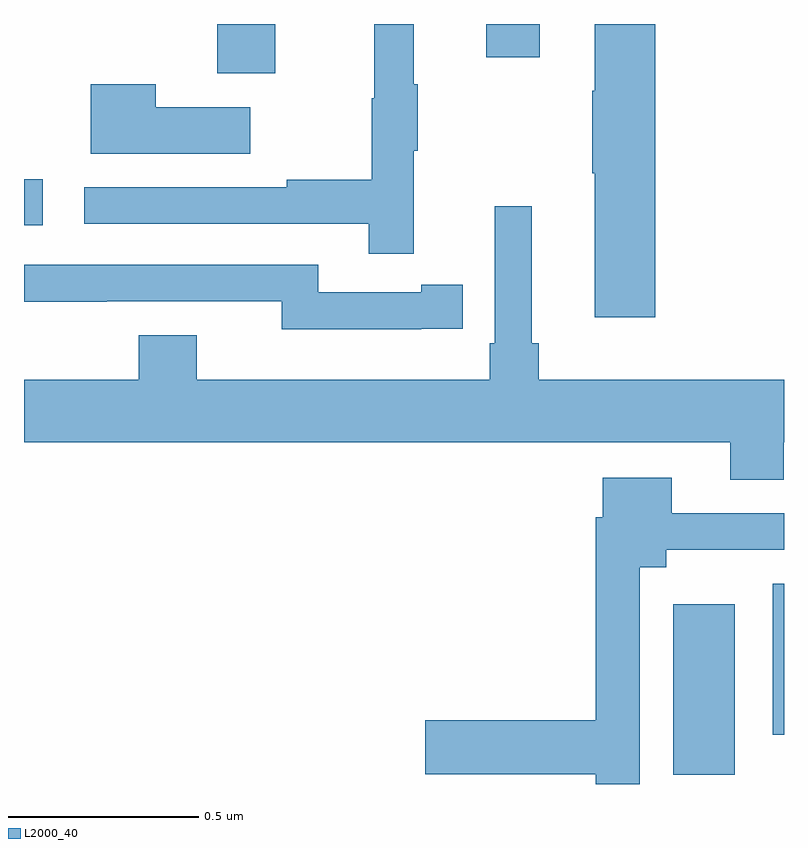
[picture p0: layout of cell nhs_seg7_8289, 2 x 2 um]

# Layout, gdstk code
import gdstk
lib = gdstk.Library(unit=1e-6, precision=1e-09)
def R(c, l, rs):  # rectangles x0, y0, x1, y1
    for r in rs: c.add(gdstk.rectangle(r[:2], r[2:], *l))
def P(c, l, *ps):  # polygons
    for p in ps: c.add(gdstk.Polygon(p, *l))
L2000_40 = (2000, 40)

nhs_seg7_8289 = lib.new_cell('nhs_seg7_8289')
R(nhs_seg7_8289, L2000_40, [(223.709,1049.025,223.87,1049.473), (223.97,1049.129,224,1049.527), (222,1050.471,222.049,1050.591), (222.509,1050.87,222.661,1051), (223.217,1050.912,223.357,1051)])
P(nhs_seg7_8289, L2000_40, [(223.025,1050.667),(223.036,1050.667),(223.036,1050.841),(223.025,1050.841),(223.025,1051),(222.922,1051),(222.922,1050.804),(222.915,1050.804),(222.915,1050.59),(222.691,1050.59),(222.691,1050.57),(222.159,1050.57),(222.159,1050.474),(222.907,1050.474),(222.907,1050.396),(223.025,1050.396)],
  [(223.661,1051),(223.502,1051),(223.502,1050.824),(223.495,1050.824),(223.495,1050.607),(223.502,1050.607),(223.502,1050.228),(223.661,1050.228)],
  [(222.595,1050.781),(222.347,1050.781),(222.347,1050.841),(222.176,1050.841),(222.176,1050.659),(222.595,1050.659)],
  [(223.999,1049.9),(224,1049.9),(224,1050.064),(223.355,1050.064),(223.355,1050.16),(223.336,1050.16),(223.336,1050.52),(223.239,1050.52),(223.239,1050.16),(223.226,1050.16),(223.226,1050.064),(222.454,1050.064),(222.454,1050.181),(222.302,1050.181),(222.302,1050.064),(222,1050.064),(222,1049.9),(223.859,1049.9),(223.859,1049.801),(223.999,1049.801)],
  [(223.046,1050.198),(223.154,1050.198),(223.154,1050.314),(223.046,1050.314),(223.046,1050.294),(222.774,1050.294),(222.774,1050.366),(222,1050.366),(222,1050.269),(222.218,1050.269),(222.218,1050.27),(222.678,1050.27),(222.678,1050.197),(223.046,1050.197)],
  [(223.62,1049.57),(223.69,1049.57),(223.69,1049.616),(224,1049.616),(224,1049.712),(223.705,1049.712),(223.705,1049.806),(223.523,1049.806),(223.523,1049.702),(223.504,1049.702),(223.504,1049.168),(223.056,1049.168),(223.056,1049.026),(223.504,1049.026),(223.504,1049),(223.62,1049)])

lib.write_gds('nhs_seg7_8289.gds')
